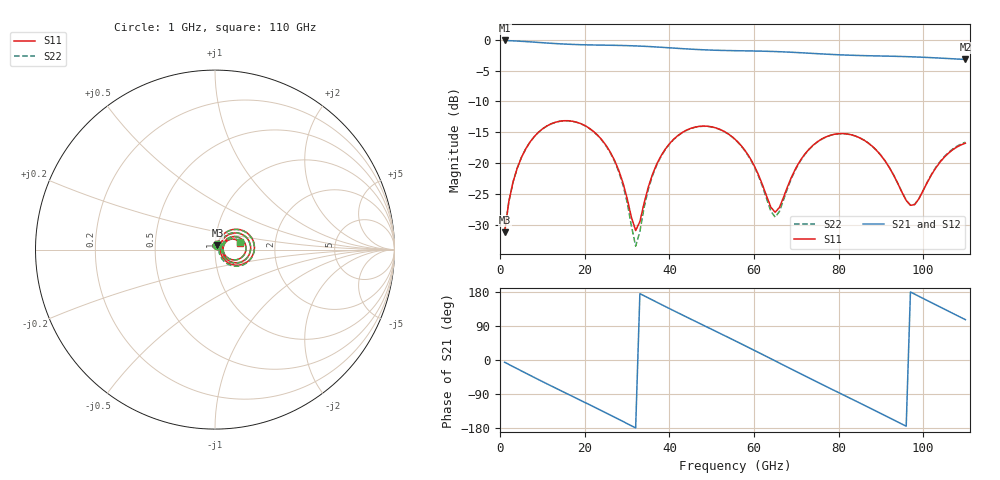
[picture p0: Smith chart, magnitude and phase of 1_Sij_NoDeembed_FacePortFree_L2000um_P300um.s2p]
! Touchstone file exported from HFSS 2024.2.0
!  File:  C:/Users/vaintrug/Documents/Ansoft_Workspace/Comparaison_Calculs_HFSS/1_VarPort.aedt
!  Generated:  03:22:19 PM Jan 21, 2025
!  Design:  1_NoDeembed_FacePortFree
!  Project:  1_VarPort
!  Setup:  Setup1
!  Solution:  Sweep
! Variables:
!  $Lenght = 2000um
!  $PortSize = 300um
!  Gap = 30um
!  Th = 2um
!  X_centralStrip = 20um
!  X_masse = 200um
!  Y_Sub = 2mm
!  Z_Box = 400um
!  Z_Sub = 200um
# GHz S MA R 50.000000
! Terminal data exported
! Port[1] = 1
! Port[2] = 2
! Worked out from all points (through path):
!   110 points, 1 GHz to 110 GHz, reference 50 ohm
!   highest |S21| = -0.13 dB at 1 GHz (marker M1); lowest = -3.2 dB at 110 GHz (marker M2)
!   group delay of S21, straight-line fit = 15.5 ps
!   lowest |S11| = -31.2 dB at 1 GHz (marker M3), VSWR 1.06, Z = 51.3 + j2.46 ohm
!   |S11| at or under -10 dB: start of sweep to end of sweep
!   |S22| runs from -33.5 to -13.2 dB; largest |S21 - S12| = 1.6e-14
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1  0.02739 61.0  0.9854 -5.9  0.9854 -5.9  0.0274 60.9
! Gamma 6.02381078079458 49.9747603086709 5.93937487509307 50.0979963203978
! Port Impedance 50 0 50 0
3  0.07028 65.7  0.9783 -17.4  0.9783 -17.4  0.0703 65.5
7  0.1477 49.0  0.9602 -40.3  0.9602 -40.3  0.1477 48.5
13  0.2141 18.4  0.9301 -73.8  0.9301 -73.8  0.2138 17.4
20  0.2012 -16.3  0.9087 -112.1  0.9087 -112.1  0.2006 -18.2
27  0.1052 -45.1  0.8998 -150.9  0.8998 -150.9  0.1035 -49.4
29  0.06913 -47.1  0.8967 -162.2  0.8967 -162.2  0.06641 -53.3
32  0.02837 -1.8  0.8899 -179.2  0.8899 -179.2  0.0212 -3.7
35  0.06406 50.9  0.8801 163.8  0.8801 163.8  0.06143 56.0
38  0.1144 47.3  0.8679 146.9  0.8679 146.9  0.1131 49.6
43  0.1767 27.5  0.846 119.1  0.846 119.1  0.176 28.1
47  0.1983 9.6  0.8311 97.2  0.8311 97.2  0.1976 9.5
56  0.1504 -28.7  0.8136 48.1  0.8136 48.1  0.1495 -30.0
60  0.09589 -39.2  0.8094 25.8  0.8094 25.8  0.0945 -41.4
65  0.03992 1.0  0.8011 -2.3  0.8011 -2.3  0.03644 0.5
70  0.09238 40.7  0.787 -30.5  0.787 -30.5  0.09104 42.0
74  0.1397 30.5  0.7733 -52.9  0.7733 -52.9  0.139 31.1
83  0.1695 -5.4  0.7477 -102.4  0.7477 -102.4  0.1695 -5.3
92  0.09208 -32.9  0.7348 -152.3  0.7348 -152.3  0.09233 -32.8
98  0.04606 10.7  0.7247 173.8  0.7247 173.8  0.04622 11.2
104  0.1017 33.9  0.709 139.9  0.709 139.9  0.1027 34.9
110  0.1448 15.1  0.6913 106.4  0.6913 106.4  0.1475 17.0
